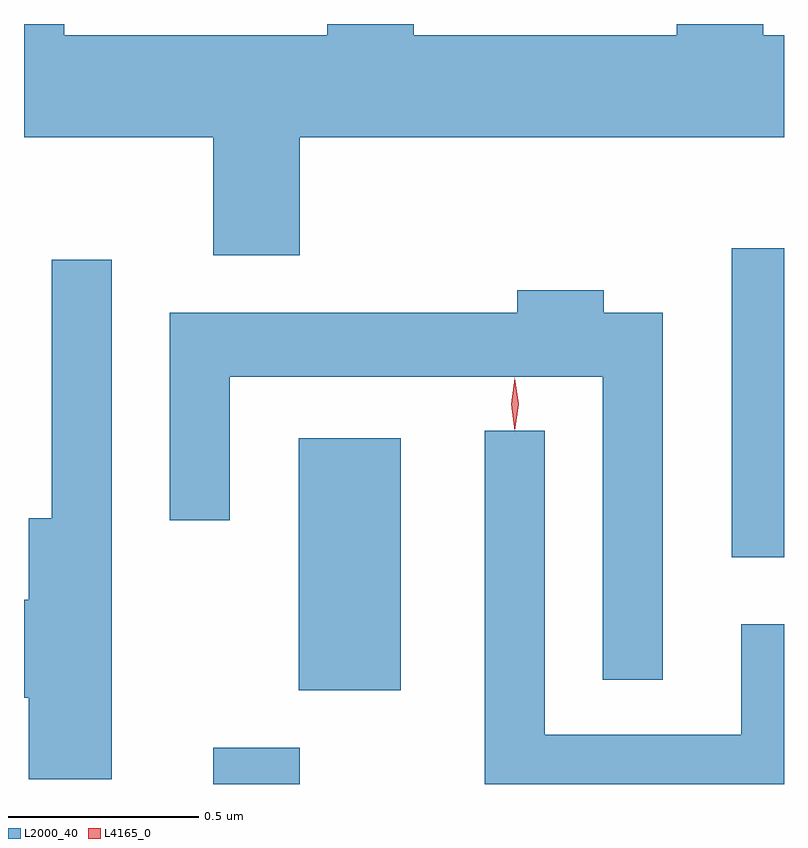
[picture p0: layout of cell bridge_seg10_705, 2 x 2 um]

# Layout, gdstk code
import gdstk
lib = gdstk.Library(unit=1e-6, precision=1e-09)
def R(c, l, rs):  # rectangles x0, y0, x1, y1
    for r in rs: c.add(gdstk.rectangle(r[:2], r[2:], *l))
def P(c, l, *ps):  # polygons
    for p in ps: c.add(gdstk.Polygon(p, *l))
L2000_40 = (2000, 40)
L4165_0 = (4165, 0)

bridge_seg10_705 = lib.new_cell('bridge_seg10_705')
R(bridge_seg10_705, L2000_40, [(900.651,2141.074,900.879,2141.169), (900.876,2141.321,901.144,2141.984), (902.016,2141.671,902.153,2142.484)])
P(bridge_seg10_705, L2000_40, [(900.879,2142.776),(902.153,2142.776),(902.153,2143.044),(902.099,2143.044),(902.099,2143.074),(901.871,2143.074),(901.871,2143.044),(901.179,2143.044),(901.179,2143.074),(900.951,2143.074),(900.951,2143.044),(900.259,2143.044),(900.259,2143.074),(900.153,2143.074),(900.153,2142.776),(900.651,2142.776),(900.651,2142.466),(900.879,2142.466)],
  [(900.384,2142.453),(900.226,2142.453),(900.226,2141.774),(900.166,2141.774),(900.166,2141.559),(900.153,2141.559),(900.153,2141.301),(900.166,2141.301),(900.166,2141.086),(900.384,2141.086)],
  [(901.834,2142.314),(901.679,2142.314),(901.679,2142.374),(901.451,2142.374),(901.451,2142.314),(900.536,2142.314),(900.536,2141.768),(900.694,2141.768),(900.694,2142.146),(901.676,2142.146),(901.676,2141.348),(901.834,2141.348)],
  [(902.153,2141.494),(902.041,2141.494),(902.041,2141.204),(901.524,2141.204),(901.524,2142.003),(901.366,2142.003),(901.366,2141.074),(902.153,2141.074)])
P(bridge_seg10_705, L4165_0, [(901.445,2142.007),(901.444,2142.008),(901.435,2142.074),(901.444,2142.14),(901.445,2142.14),(901.445,2142.14),(901.455,2142.074),(901.445,2142.008)],
  [(901.444,2142.004),(901.435,2142.073),(901.444,2142.142),(901.445,2142.143),(901.445,2142.142),(901.455,2142.073),(901.445,2142.004),(901.445,2142.004)])

lib.write_gds('bridge_seg10_705.gds')
